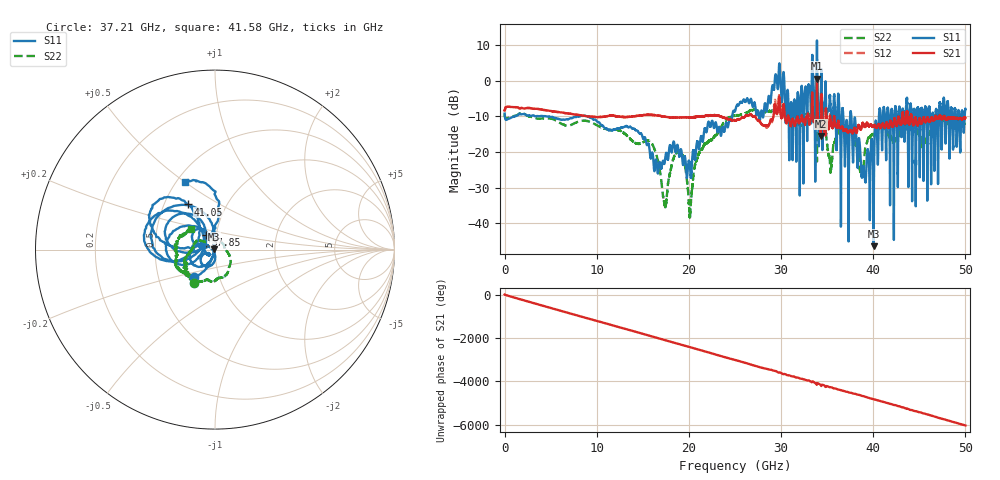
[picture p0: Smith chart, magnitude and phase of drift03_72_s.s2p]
!Created with skrf (http://scikit-rf.org).
# Hz S RI R 50.0
!freq ReS11 ImS11 ReS21 ImS21 ReS12 ImS12 ReS22 ImS22
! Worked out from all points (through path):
!   10001 points, 300 kHz to 50 GHz, reference 50 ohm
!   highest |S21| = 0.59 dB at 33.9 GHz (marker M1); lowest = -15.5 dB at 34.32 GHz (marker M2)
!   group delay of S21, straight-line fit = 335 ps
!   lowest |S11| = -46.4 dB at 40.05 GHz (marker M3), VSWR 1.01, Z = 49.6 + j0.245 ohm
!   |S11| at or under -10 dB: 4.465 GHz to 8.197 GHz (3.732 GHz wide, 58.9 % of centre); 9.019 GHz to 24.7 GHz (15.68 GHz wide, 93 % of centre); 37.62 GHz to 40.62 GHz (2.997 GHz wide, 7.66 % of centre) (the widest 3 of 51)
!   |S22| runs from -38.3 to -5.9 dB; largest |S21 - S12| = 0.11
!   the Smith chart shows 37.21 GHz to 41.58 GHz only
!   S11 on the Smith chart (normalised r, x): 37.21 GHz: 0.76, -0.24; 37.85 GHz: 0.89, +0.15; 41.05 GHz: 0.66, +0.36; 41.58 GHz: 0.55, +0.50
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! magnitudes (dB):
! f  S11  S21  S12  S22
! 300 kHz  -9.3  -8.4  -8.4  -9.3
! 8.335 GHz  -9.8  -9.8  -9.8  -11.3
! 16.67 GHz  -25.5  -9.8  -9.8  -23.1
! 17.4 GHz  -22.4  -10.1  -10.1  -35.0
! 19.09 GHz  -19.5  -10.3  -10.3  -20.1
! 20.14 GHz  -24.8  -10.3  -10.3  -37.2
! 21.19 GHz  -17.9  -10.1  -10.1  -19.7
! 25 GHz  -8.5  -11.1  -11.1  -9.8
! 29.66 GHz  -2.3  -8.3  -8.4  -7.1
! 31.08 GHz  -6.1  -12.7  -12.7  -10.5
! 33.34 GHz  0.6  -7.4  -7.5  -9.4
! 33.9 GHz  11.3  0.6  0.2  -22.7
! 34.32 GHz  -2.9  -15.5  -14.9  -11.2
! 35.35 GHz  -6.8  -10.5  -10.1  -25.3
! 37.21 GHz  -14.4  -14.4  -14.3  -13.2
! 37.85 GHz  -20.2  -14.3  -14.3  -14.9
! 38.71 GHz  -25.5  -13.4  -13.3  -25.7
! 40.05 GHz  -46.4  -12.7  -12.8  -15.1
! 41.05 GHz  -10.6  -12.1  -12.0  -13.3
! 41.58 GHz  -7.6  -12.7  -12.6  -15.2
! 41.67 GHz  -9.4  -13.2  -13.2  -15.0
! 50 GHz  -7.9  -10.5  -10.5  -12.2
